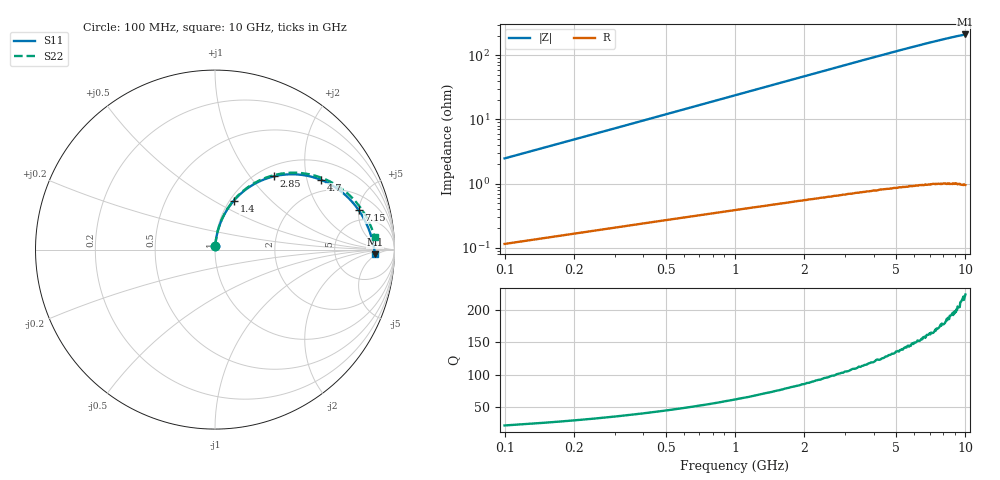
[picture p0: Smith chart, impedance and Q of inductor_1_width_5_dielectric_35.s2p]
# GHZ S MA R 50.00000
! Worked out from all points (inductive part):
!   199 points, 100 MHz to 10 GHz, reference 50 ohm
!   read as one part in series: L = 3.89 nH near 100 MHz
!   highest Q = 224 at 10 GHz (marker M1), where L = 3.38 nH
!   S11 on the Smith chart (normalised r, x): 100 MHz: 1.00, +0.05; 1.4 GHz: 1.04, +0.62; 2.85 GHz: 1.17, +1.32; 4.7 GHz: 1.57, +2.45; 7.15 GHz: 3.50, +4.97; 10 GHz: 16, -4
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0.1  0.02281 85.6  0.9986 -1.5  0.9986 -1.5  0.02281 85.6
0.15  0.03385 85.3  0.998 -2.3  0.998 -2.3  0.03385 85.4
0.2  0.04483 84.9  0.9973 -3.0  0.9973 -3.0  0.04483 84.9
0.25  0.05576 84.3  0.9966 -3.7  0.9966 -3.7  0.05576 84.4
0.35  0.07748 83.1  0.9948 -5.2  0.9948 -5.2  0.07748 83.2
0.5  0.1097 81.2  0.9913 -7.4  0.9913 -7.4  0.1097 81.3
0.7  0.1521 78.5  0.9852 -10.2  0.9852 -10.2  0.1521 78.7
0.9  0.1935 75.7  0.9775 -13.1  0.9775 -13.1  0.1935 76.0
1.15  0.2437 72.3  0.9658 -16.6  0.9658 -16.6  0.2436 72.7
1.4  0.2918 69.0  0.952 -20.0  0.952 -20.0  0.2918 69.4
1.75  0.3555 64.4  0.9298 -24.6  0.9298 -24.6  0.3555 64.9
2.25  0.4381 58.1  0.8936 -30.9  0.8936 -30.9  0.4381 58.8
2.85  0.5238 51.2  0.8461 -37.8  0.8461 -37.8  0.5238 52.1
3.4  0.5902 45.3  0.8012 -43.6  0.8012 -43.6  0.5902 46.4
4  0.6506 39.5  0.7532 -49.4  0.7532 -49.4  0.6506 40.8
4.7  0.7076 33.3  0.7002 -55.5  0.7002 -55.5  0.7077 34.9
5.05  0.7316 30.4  0.6753 -58.3  0.6753 -58.3  0.7316 32.2
5.85  0.7769 24.3  0.623 -64.2  0.623 -64.2  0.777 26.5
6.7  0.8138 18.4  0.5743 -69.8  0.5743 -69.8  0.8139 21.2
7.15  0.8296 15.4  0.5514 -72.6  0.5514 -72.6  0.8298 18.5
8.35  0.8624 8.1  0.4988 -79.5  0.4988 -79.5  0.8627 12.2
10  0.8914 -1.6  0.4445 -88.3  0.4445 -88.3  0.8921 4.5
